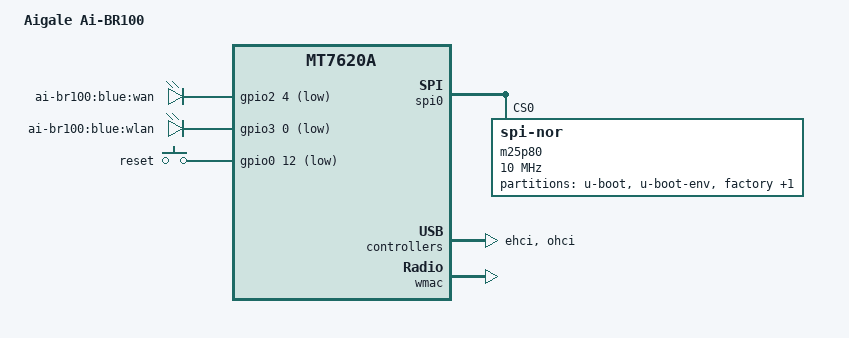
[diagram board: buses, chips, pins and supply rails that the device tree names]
/dts-v1/;

#include "mt7620a.dtsi"

#include <dt-bindings/gpio/gpio.h>
#include <dt-bindings/input/input.h>

/ {
	compatible = "aigale,ai-br100", "ralink,mt7620a-soc";
	model = "Aigale Ai-BR100";

	aliases {
		led-boot = &led_wlan;
		led-failsafe = &led_wlan;
		led-running = &led_wlan;
		led-upgrade = &led_wlan;
	};

	leds {
		compatible = "gpio-leds";

		wan {
			label = "ai-br100:blue:wan";
			gpios = <&gpio2 4 GPIO_ACTIVE_LOW>;
		};

		led_wlan: wlan {
			label = "ai-br100:blue:wlan";
			gpios = <&gpio3 0 GPIO_ACTIVE_LOW>;
		};
	};

	keys {
		compatible = "gpio-keys-polled";
		poll-interval = <20>;

		reset {
			label = "reset";
			gpios = <&gpio0 12 GPIO_ACTIVE_LOW>;
			linux,code = <KEY_RESTART>;
		};
	};
};

&gpio2 {
	status = "okay";
};

&gpio3 {
	status = "okay";
};

&spi0 {
	status = "okay";

	m25p80@0 {
		compatible = "jedec,spi-nor";
		reg = <0 0>;
		spi-max-frequency = <10000000>;

		partitions {
			compatible = "fixed-partitions";
			#address-cells = <1>;
			#size-cells = <1>;

			partition@0 {
				label = "u-boot";
				reg = <0x0 0x20000>;
				read-only;
			};

			partition@20000 {
				label = "u-boot-env";
				reg = <0x20000 0x10000>;
				read-only;
			};

			factory: partition@30000 {
				label = "factory";
				reg = <0x30000 0x10000>;
				read-only;
			};

			partition@40000 {
				compatible = "denx,uimage";
				label = "firmware";
				reg = <0x40000 0x7c0000>;
			};
		};
	};
};

&ehci {
	status = "okay";
};

&ohci {
	status = "okay";
};

&pinctrl {
	state_default: pinctrl0 {
		gpio {
			ralink,group = "i2c", "uartf", "rgmii1", "rgmii2", "ephy", "wled", "nd_sd";
			ralink,function = "gpio";
		};
	};
};

&ethernet {
	mtd-mac-address = <&factory 0x4>;
	mediatek,portmap = "llllw";
};

&wmac {
	ralink,mtd-eeprom = <&factory 0>;
};
